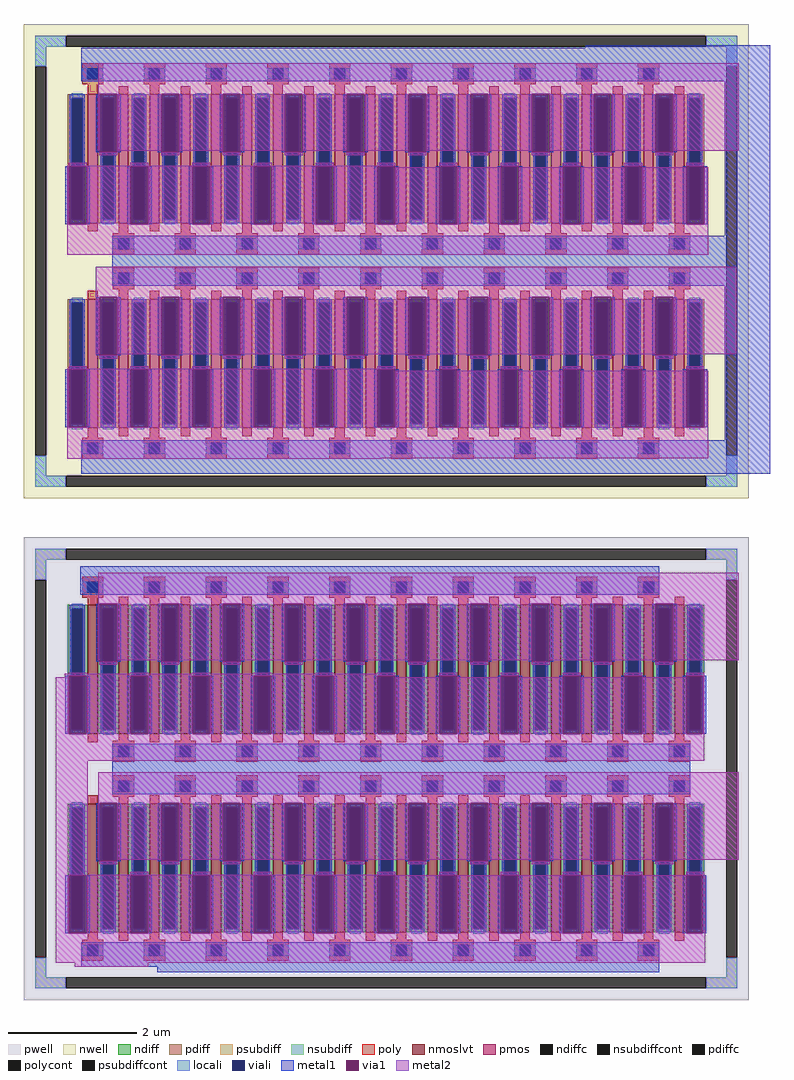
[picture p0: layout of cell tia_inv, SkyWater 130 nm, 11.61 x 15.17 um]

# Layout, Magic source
magic
tech sky130A
magscale 1 2
<< metal1 >>
rect 4048 2200 4622 2208
rect 2480 2096 4622 2200
rect 2526 1876 2536 2056
rect 2592 1876 2602 2056
rect 2718 1876 2728 2056
rect 2784 1876 2794 2056
rect 2910 1876 2920 2056
rect 2976 1876 2986 2056
rect 3102 1876 3112 2056
rect 3168 1876 3178 2056
rect 3294 1876 3304 2056
rect 3360 1876 3370 2056
rect 3486 1876 3496 2056
rect 3552 1876 3562 2056
rect 3678 1876 3688 2056
rect 3744 1876 3754 2056
rect 3870 1876 3880 2056
rect 3936 1876 3946 2056
rect 4062 1876 4072 2056
rect 4128 1876 4138 2056
rect 4254 1876 4264 2056
rect 4320 1876 4330 2056
rect 2430 1652 2440 1832
rect 2496 1652 2506 1832
rect 2622 1652 2632 1832
rect 2688 1652 2698 1832
rect 2814 1652 2824 1832
rect 2880 1652 2890 1832
rect 3006 1652 3016 1832
rect 3072 1652 3082 1832
rect 3198 1652 3208 1832
rect 3264 1652 3274 1832
rect 3390 1652 3400 1832
rect 3456 1652 3466 1832
rect 3582 1652 3592 1832
rect 3648 1652 3658 1832
rect 3774 1652 3784 1832
rect 3840 1652 3850 1832
rect 3966 1652 3976 1832
rect 4032 1652 4042 1832
rect 4158 1652 4168 1832
rect 4224 1652 4234 1832
rect 4350 1652 4360 1832
rect 4416 1652 4426 1832
rect 4480 1616 4622 2096
rect 2576 1460 4622 1616
rect 2526 1244 2536 1424
rect 2592 1244 2602 1424
rect 2718 1244 2728 1424
rect 2784 1244 2794 1424
rect 2910 1244 2920 1424
rect 2976 1244 2986 1424
rect 3102 1244 3112 1424
rect 3168 1244 3178 1424
rect 3294 1244 3304 1424
rect 3360 1244 3370 1424
rect 3486 1244 3496 1424
rect 3552 1244 3562 1424
rect 3678 1244 3688 1424
rect 3744 1244 3754 1424
rect 3870 1244 3880 1424
rect 3936 1244 3946 1424
rect 4062 1244 4072 1424
rect 4128 1244 4138 1424
rect 4254 1244 4264 1424
rect 4320 1244 4330 1424
rect 2430 1020 2440 1200
rect 2496 1020 2506 1200
rect 2622 1020 2632 1200
rect 2688 1020 2698 1200
rect 2814 1020 2824 1200
rect 2880 1020 2890 1200
rect 3006 1020 3016 1200
rect 3072 1020 3082 1200
rect 3198 1020 3208 1200
rect 3264 1020 3274 1200
rect 3390 1020 3400 1200
rect 3456 1020 3466 1200
rect 3582 1020 3592 1200
rect 3648 1020 3658 1200
rect 3774 1020 3784 1200
rect 3840 1020 3850 1200
rect 3966 1020 3976 1200
rect 4032 1020 4042 1200
rect 4158 1020 4168 1200
rect 4224 1020 4234 1200
rect 4350 1020 4360 1200
rect 4416 1020 4426 1200
rect 4480 980 4622 1460
rect 2480 876 4622 980
rect 2476 500 4276 588
rect 2526 292 2536 472
rect 2592 292 2602 472
rect 2718 292 2728 472
rect 2784 292 2794 472
rect 2910 292 2920 472
rect 2976 292 2986 472
rect 3102 292 3112 472
rect 3168 292 3178 472
rect 3294 292 3304 472
rect 3360 292 3370 472
rect 3486 292 3496 472
rect 3552 292 3562 472
rect 3678 292 3688 472
rect 3744 292 3754 472
rect 3870 292 3880 472
rect 3936 292 3946 472
rect 4062 292 4072 472
rect 4128 292 4138 472
rect 4254 292 4264 472
rect 4320 292 4330 472
rect 2430 68 2440 248
rect 2496 68 2506 248
rect 2622 68 2632 248
rect 2688 68 2698 248
rect 2814 68 2824 248
rect 2880 68 2890 248
rect 3006 68 3016 248
rect 3072 68 3082 248
rect 3198 68 3208 248
rect 3264 68 3274 248
rect 3390 68 3400 248
rect 3456 68 3466 248
rect 3582 68 3592 248
rect 3648 68 3658 248
rect 3774 68 3784 248
rect 3840 68 3850 248
rect 3966 68 3976 248
rect 4032 68 4042 248
rect 4158 68 4168 248
rect 4224 68 4234 248
rect 4350 68 4360 248
rect 4412 68 4422 248
rect 2576 -120 4372 36
rect 2526 -328 2536 -148
rect 2592 -328 2602 -148
rect 2718 -328 2728 -148
rect 2784 -328 2794 -148
rect 2910 -328 2920 -148
rect 2976 -328 2986 -148
rect 3102 -328 3112 -148
rect 3168 -328 3178 -148
rect 3294 -328 3304 -148
rect 3360 -328 3370 -148
rect 3486 -328 3496 -148
rect 3552 -328 3562 -148
rect 3678 -328 3688 -148
rect 3744 -328 3754 -148
rect 3870 -328 3880 -148
rect 3936 -328 3946 -148
rect 4062 -328 4072 -148
rect 4128 -328 4138 -148
rect 4254 -328 4264 -148
rect 4320 -328 4330 -148
rect 2430 -552 2440 -372
rect 2496 -552 2506 -372
rect 2622 -552 2632 -372
rect 2688 -552 2698 -372
rect 2814 -552 2824 -372
rect 2880 -552 2890 -372
rect 3006 -552 3016 -372
rect 3072 -552 3082 -372
rect 3198 -552 3208 -372
rect 3264 -552 3274 -372
rect 3390 -552 3400 -372
rect 3456 -552 3466 -372
rect 3582 -552 3592 -372
rect 3648 -552 3658 -372
rect 3774 -552 3784 -372
rect 3840 -552 3850 -372
rect 3966 -552 3976 -372
rect 4032 -552 4042 -372
rect 4158 -552 4168 -372
rect 4224 -552 4234 -372
rect 4350 -552 4360 -372
rect 4412 -552 4422 -372
rect 2480 -656 4276 -580
rect 2716 -674 4276 -656
<< via1 >>
rect 2536 1876 2592 2056
rect 2728 1876 2784 2056
rect 2920 1876 2976 2056
rect 3112 1876 3168 2056
rect 3304 1876 3360 2056
rect 3496 1876 3552 2056
rect 3688 1876 3744 2056
rect 3880 1876 3936 2056
rect 4072 1876 4128 2056
rect 4264 1876 4320 2056
rect 2440 1652 2496 1832
rect 2632 1652 2688 1832
rect 2824 1652 2880 1832
rect 3016 1652 3072 1832
rect 3208 1652 3264 1832
rect 3400 1652 3456 1832
rect 3592 1652 3648 1832
rect 3784 1652 3840 1832
rect 3976 1652 4032 1832
rect 4168 1652 4224 1832
rect 4360 1652 4416 1832
rect 2536 1244 2592 1424
rect 2728 1244 2784 1424
rect 2920 1244 2976 1424
rect 3112 1244 3168 1424
rect 3304 1244 3360 1424
rect 3496 1244 3552 1424
rect 3688 1244 3744 1424
rect 3880 1244 3936 1424
rect 4072 1244 4128 1424
rect 4264 1244 4320 1424
rect 2440 1020 2496 1200
rect 2632 1020 2688 1200
rect 2824 1020 2880 1200
rect 3016 1020 3072 1200
rect 3208 1020 3264 1200
rect 3400 1020 3456 1200
rect 3592 1020 3648 1200
rect 3784 1020 3840 1200
rect 3976 1020 4032 1200
rect 4168 1020 4224 1200
rect 4360 1020 4416 1200
rect 2536 292 2592 472
rect 2728 292 2784 472
rect 2920 292 2976 472
rect 3112 292 3168 472
rect 3304 292 3360 472
rect 3496 292 3552 472
rect 3688 292 3744 472
rect 3880 292 3936 472
rect 4072 292 4128 472
rect 4264 292 4320 472
rect 2440 68 2496 248
rect 2632 68 2688 248
rect 2824 68 2880 248
rect 3016 68 3072 248
rect 3208 68 3264 248
rect 3400 68 3456 248
rect 3592 68 3648 248
rect 3784 68 3840 248
rect 3976 68 4032 248
rect 4168 68 4224 248
rect 4360 68 4412 248
rect 2536 -328 2592 -148
rect 2728 -328 2784 -148
rect 2920 -328 2976 -148
rect 3112 -328 3168 -148
rect 3304 -328 3360 -148
rect 3496 -328 3552 -148
rect 3688 -328 3744 -148
rect 3880 -328 3936 -148
rect 4072 -328 4128 -148
rect 4264 -328 4320 -148
rect 2440 -552 2496 -372
rect 2632 -552 2688 -372
rect 2824 -552 2880 -372
rect 3016 -552 3072 -372
rect 3208 -552 3264 -372
rect 3400 -552 3456 -372
rect 3592 -552 3648 -372
rect 3784 -552 3840 -372
rect 3976 -552 4032 -372
rect 4168 -552 4224 -372
rect 4360 -552 4412 -372
<< metal2 >>
rect 2532 2056 4524 2152
rect 2532 1880 2536 2056
rect 2592 1880 2728 2056
rect 2536 1866 2592 1876
rect 2784 1880 2920 2056
rect 2728 1866 2784 1876
rect 2976 1880 3112 2056
rect 2920 1866 2976 1876
rect 3168 1880 3304 2056
rect 3112 1866 3168 1876
rect 3360 1880 3496 2056
rect 3304 1866 3360 1876
rect 3552 1880 3688 2056
rect 3496 1866 3552 1876
rect 3744 1880 3880 2056
rect 3688 1866 3744 1876
rect 3936 1880 4072 2056
rect 3880 1866 3936 1876
rect 4128 1880 4264 2056
rect 4072 1866 4128 1876
rect 4320 1880 4524 2056
rect 4264 1866 4320 1876
rect 2440 1834 2496 1842
rect 2632 1834 2688 1842
rect 2824 1834 2880 1842
rect 3016 1834 3072 1842
rect 3208 1834 3264 1842
rect 3400 1834 3456 1842
rect 2436 1832 3456 1834
rect 2436 1652 2440 1832
rect 2496 1652 2632 1832
rect 2688 1652 2824 1832
rect 2880 1652 3016 1832
rect 3072 1652 3208 1832
rect 3264 1652 3400 1832
rect 3592 1832 3648 1842
rect 3456 1652 3592 1828
rect 3784 1832 3840 1842
rect 3648 1652 3784 1828
rect 3976 1832 4032 1842
rect 3840 1652 3976 1828
rect 4168 1832 4224 1842
rect 4032 1652 4168 1828
rect 4360 1832 4416 1842
rect 4224 1652 4360 1828
rect 4416 1652 4428 1828
rect 2436 1556 4428 1652
rect 2524 1424 4516 1520
rect 2524 1248 2536 1424
rect 2592 1248 2728 1424
rect 2536 1234 2592 1244
rect 2784 1248 2920 1424
rect 2728 1234 2784 1244
rect 2976 1248 3112 1424
rect 2920 1234 2976 1244
rect 3168 1248 3304 1424
rect 3112 1234 3168 1244
rect 3360 1248 3496 1424
rect 3304 1234 3360 1244
rect 3552 1248 3688 1424
rect 3496 1234 3552 1244
rect 3744 1248 3880 1424
rect 3688 1234 3744 1244
rect 3936 1248 4072 1424
rect 3880 1234 3936 1244
rect 4128 1248 4264 1424
rect 4072 1234 4128 1244
rect 4320 1248 4516 1424
rect 4264 1234 4320 1244
rect 2440 1202 2496 1210
rect 2632 1202 2688 1210
rect 2824 1202 2880 1210
rect 3016 1202 3072 1210
rect 3208 1202 3264 1210
rect 3400 1202 3456 1210
rect 2436 1200 3456 1202
rect 2436 1020 2440 1200
rect 2496 1020 2632 1200
rect 2688 1020 2824 1200
rect 2880 1020 3016 1200
rect 3072 1020 3208 1200
rect 3264 1020 3400 1200
rect 3592 1200 3648 1210
rect 3456 1020 3592 1196
rect 3784 1200 3840 1210
rect 3648 1020 3784 1196
rect 3976 1200 4032 1210
rect 3840 1020 3976 1196
rect 4168 1200 4224 1210
rect 4032 1020 4168 1196
rect 4360 1200 4416 1210
rect 4224 1020 4360 1196
rect 4416 1020 4428 1196
rect 2436 924 4428 1020
rect 2436 922 3412 924
rect 2532 472 4524 568
rect 2532 296 2536 472
rect 2592 296 2728 472
rect 2536 282 2592 292
rect 2784 296 2920 472
rect 2728 282 2784 292
rect 2976 296 3112 472
rect 2920 282 2976 292
rect 3168 296 3304 472
rect 3112 282 3168 292
rect 3360 296 3496 472
rect 3304 282 3360 292
rect 3552 296 3688 472
rect 3496 282 3552 292
rect 3744 296 3880 472
rect 3688 282 3744 292
rect 3936 296 4072 472
rect 3880 282 3936 292
rect 4128 296 4264 472
rect 4072 282 4128 292
rect 4320 296 4524 472
rect 4264 282 4320 292
rect 2440 254 2496 258
rect 2632 254 2688 258
rect 2824 254 2880 258
rect 3016 254 3072 258
rect 3208 254 3264 258
rect 3400 254 3456 258
rect 2428 248 3456 254
rect 2428 244 2440 248
rect 2400 68 2440 244
rect 2496 68 2632 248
rect 2688 68 2824 248
rect 2880 68 3016 248
rect 3072 68 3208 248
rect 3264 68 3400 248
rect 3592 248 3648 258
rect 3456 68 3592 244
rect 3784 248 3840 258
rect 3648 68 3784 244
rect 3976 248 4032 258
rect 3840 68 3976 244
rect 4168 248 4224 258
rect 4032 68 4168 244
rect 4360 248 4416 258
rect 4224 68 4360 244
rect 4412 68 4416 248
rect 2400 -16 4416 68
rect 2400 -370 2500 -16
rect 2532 -148 4524 -52
rect 2532 -324 2536 -148
rect 2592 -324 2728 -148
rect 2536 -338 2592 -328
rect 2784 -324 2920 -148
rect 2728 -338 2784 -328
rect 2976 -324 3112 -148
rect 2920 -338 2976 -328
rect 3168 -324 3304 -148
rect 3112 -338 3168 -328
rect 3360 -324 3496 -148
rect 3304 -338 3360 -328
rect 3552 -324 3688 -148
rect 3496 -338 3552 -328
rect 3744 -324 3880 -148
rect 3688 -338 3744 -328
rect 3936 -324 4072 -148
rect 3880 -338 3936 -328
rect 4128 -324 4264 -148
rect 4072 -338 4128 -328
rect 4320 -324 4524 -148
rect 4264 -338 4320 -328
rect 2632 -370 2688 -362
rect 2824 -370 2880 -362
rect 3016 -370 3072 -362
rect 3208 -370 3264 -362
rect 3400 -370 3456 -362
rect 2400 -372 3456 -370
rect 3592 -372 3648 -362
rect 3784 -372 3840 -362
rect 3976 -372 4032 -362
rect 4168 -372 4224 -362
rect 4360 -372 4416 -362
rect 2400 -552 2440 -372
rect 2496 -552 2632 -372
rect 2688 -552 2824 -372
rect 2880 -552 3016 -372
rect 3072 -552 3208 -372
rect 3264 -552 3400 -372
rect 3456 -552 3592 -372
rect 3648 -552 3784 -372
rect 3840 -552 3976 -372
rect 4032 -552 4168 -372
rect 4224 -552 4360 -372
rect 4412 -552 4420 -372
rect 2400 -644 4420 -552
rect 2460 -656 2688 -644
use sky130_fd_pr__nfet_01v8_lvt_A46MKJ  sky130_fd_pr__nfet_01v8_lvt_A46MKJ_0
transform 1 0 3427 0 1 -41
box -1127 -719 1127 719
use sky130_fd_pr__pfet_01v8_8DBWZL  sky130_fd_pr__pfet_01v8_8DBWZL_0
transform 1 0 3427 0 1 1537
box -1127 -737 1127 737
<< end >>

# cell sky130_fd_pr__nfet_01v8_lvt_A46MKJ: kit device sky130_fd_pr__nfet_01v8_lvt, w 2 l 0.150 m 2 nf 20 diffcov 100 polycov 100 guard 1 glc 1 grc 1 gtc 1 gbc 1 tbcov 100 rlcov 100 topc 1 botc 1 poverlap 0 doverlap 1 lmin 0.15 wmin 0.42 compatible {sky130_fd_pr__nfet_01v8 sky130_fd_pr__nfet_01v8_lvt sky130_fd_bs_flash__special_sonosfet_star sky130_fd_pr__nfet_g5v0d10v5 sky130_fd_pr__nfet_05v0_nvt sky130_fd_pr__nfet_03v3_nvt} full_metal 1 viasrc 100 viadrn 100 viagate 100 viagb 0 viagr 0 viagl 0 viagt 0

# cell sky130_fd_pr__pfet_01v8_8DBWZL: kit device sky130_fd_pr__pfet_01v8, w 2 l 0.15 m 2 nf 20 diffcov 100 polycov 100 guard 1 glc 1 grc 1 gtc 1 gbc 1 tbcov 100 rlcov 100 topc 1 botc 1 poverlap 0 doverlap 1 lmin 0.15 wmin 0.42 compatible {sky130_fd_pr__pfet_01v8 sky130_fd_pr__pfet_01v8_lvt sky130_fd_pr__pfet_01v8_hvt sky130_fd_pr__pfet_g5v0d10v5} full_metal 1 viasrc 100 viadrn 100 viagate 100 viagb 0 viagr 0 viagl 0 viagt 0
